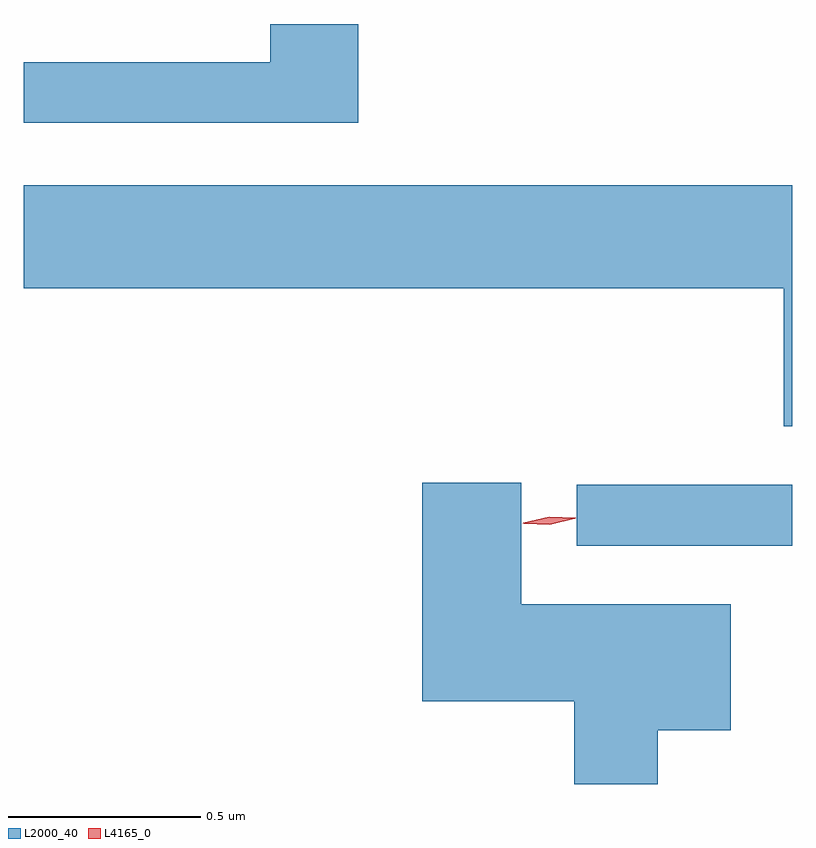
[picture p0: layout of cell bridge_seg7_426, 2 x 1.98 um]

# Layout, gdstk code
import gdstk
lib = gdstk.Library(unit=1e-6, precision=1e-09)
def R(c, l, rs):  # rectangles x0, y0, x1, y1
    for r in rs: c.add(gdstk.rectangle(r[:2], r[2:], *l))
def P(c, l, *ps):  # polygons
    for p in ps: c.add(gdstk.Polygon(p, *l))
L2000_40 = (2000, 40)
L4165_0 = (4165, 0)

bridge_seg7_426 = lib.new_cell('bridge_seg7_426')
R(bridge_seg7_426, L2000_40, [(1099.228,1713.646,1099.789,1713.804)])
P(bridge_seg7_426, L2000_40, [(1098.659,1715.003),(1098.431,1715.003),(1098.431,1714.904),(1097.789,1714.904),(1097.789,1714.746),(1098.659,1714.746)],
  [(1099.789,1714.584),(1097.789,1714.584),(1097.789,1714.316),(1099.766,1714.316),(1099.766,1713.956),(1099.789,1713.956)],
  [(1099.439,1713.166),(1099.629,1713.166),(1099.629,1713.494),(1099.084,1713.494),(1099.084,1713.809),(1098.826,1713.809),(1098.826,1713.241),(1099.221,1713.241),(1099.221,1713.026),(1099.439,1713.026)])
P(bridge_seg7_426, L4165_0, [(1099.158,1713.701),(1099.089,1713.704),(1099.088,1713.704),(1099.089,1713.705),(1099.156,1713.721),(1099.226,1713.718),(1099.226,1713.718),(1099.226,1713.717)],
  [(1099.158,1713.7),(1099.091,1713.703),(1099.091,1713.704),(1099.091,1713.704),(1099.156,1713.72),(1099.222,1713.717),(1099.223,1713.716),(1099.222,1713.716)])

lib.write_gds('bridge_seg7_426.gds')
